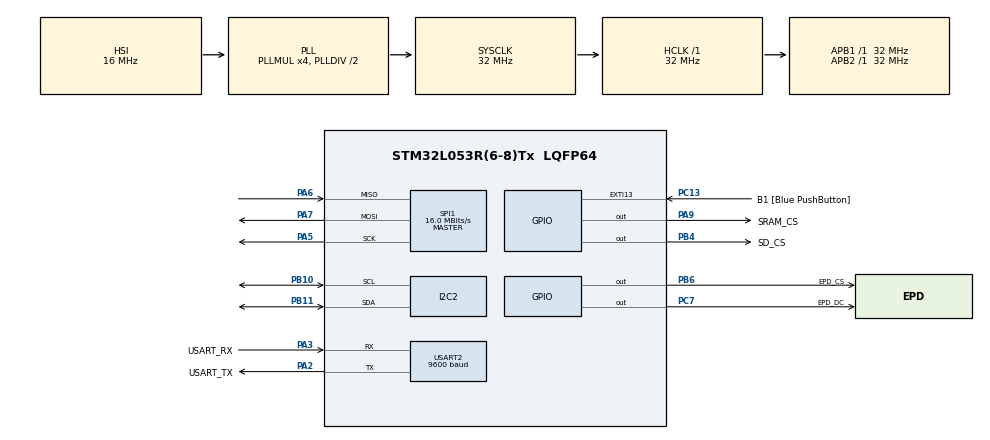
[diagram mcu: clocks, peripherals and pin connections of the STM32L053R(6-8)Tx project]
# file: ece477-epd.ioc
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Mcu.Family=STM32L0
PA6.Mode=Full_Duplex_Master
PH0-OSC_IN.Signal=RCC_OSC_IN
SPI1.VirtualType=VM_MASTER
PB10.Mode=I2C
PA14.GPIO_Label=TCK
I2C2.Timing=0x00707CBB
PB6.GPIO_Label=EPD_CS
PC13.GPIO_Label=B1 [Blue PushButton]
PB11.Signal=I2C2_SDA
RCC.SYSCLKSource=RCC_SYSCLKSOURCE_PLLCLK
ProjectManager.StackSize=0x400
SPI1.Direction=SPI_DIRECTION_2LINES
RCC.HCLKFreq_Value=32000000
RCC.APB2TimFreq_Value=32000000
PB6.Signal=GPIO_Output
PC7.Signal=GPIO_Output
SPI1.CalculateBaudRate=16.0 MBits/s
RCC.AHBFreq_Value=32000000
PH0-OSC_IN.Mode=HSE-External-Clock-Source
RCC.HSE_VALUE=8000000
USART2.VirtualMode-Asynchronous=VM_ASYNC
RCC.PLLMUL=RCC_PLLMUL_4
PC14-OSC32_IN.Mode=LSE-External-Oscillator
PA14.Mode=Serial_Wire
PC7.PinState=GPIO_PIN_SET
Mcu.Package=LQFP64
PA6.Signal=SPI1_MISO
PA2.GPIO_Label=USART_TX
RCC.APB1TimFreq_Value=32000000
PA6.GPIO_Speed=GPIO_SPEED_FREQ_MEDIUM
SPI1.BaudRatePrescaler=SPI_BAUDRATEPRESCALER_2
PB4.PinState=GPIO_PIN_SET
RCC.HSI48_VALUE=48000000
PB4.Signal=GPIO_Output
PA3.Signal=USART2_RX
PA5.Mode=Full_Duplex_Master
RCC.MSI_VALUE=2097000
PC15-OSC32_OUT.Mode=LSE-External-Oscillator
PA7.Mode=Full_Duplex_Master
PC13.Signal=GPXTI13
PA9.GPIO_Label=SRAM_CS
PC14-OSC32_IN.Signal=RCC_OSC32_IN
USART2.BaudRate=9600
PA13.Signal=SYS_SWDIO
PA3.Mode=Asynchronous
RCC.HSI16_VALUE=16000000
PB11.Mode=I2C
ProjectManager.TargetToolchain=STM32CubeIDE
PA9.Signal=GPIO_Output
PA9.PinState=GPIO_PIN_SET
PC15-OSC32_OUT.Signal=RCC_OSC32_OUT
PB10.Signal=I2C2_SCL
PA5.Signal=SPI1_SCK
board=NUCLEO-L053R8
RCC.VCOOutputFreq_Value=64000000
PA7.GPIO_Speed=GPIO_SPEED_FREQ_MEDIUM
RCC.APB2Freq_Value=32000000
PB4.GPIO_Label=SD_CS
SPI1.Mode=SPI_MODE_MASTER
PH1-OSC_OUT.Signal=RCC_OSC_OUT
PA13.Mode=Serial_Wire
Mcu.Name=STM32L053R(6-8)Tx
PA13.GPIO_Label=TMS
PA2.Signal=USART2_TX
PC7.GPIO_Label=EPD_DC
RCC.SYSCLKFreq_VALUE=32000000
PC13.GPIO_ModeDefaultEXTI=GPIO_MODE_IT_FALLING
PB6.PinState=GPIO_PIN_SET
PA14.Signal=SYS_SWCLK
ProjectManager.HeapSize=0x200
RCC.HSI_VALUE=16000000
PA5.GPIO_Speed=GPIO_SPEED_FREQ_MEDIUM
PA9.GPIO_Speed=GPIO_SPEED_FREQ_MEDIUM
PA2.Mode=Asynchronous
RCC.APB1Freq_Value=32000000
PA3.GPIO_Label=USART_RX
PA7.Signal=SPI1_MOSI

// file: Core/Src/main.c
/* USER CODE BEGIN Header */
/**
  ******************************************************************************
  * @file           : main.c
  * @brief          : Main program body
  ******************************************************************************
  * @attention
  *
  * <h2><center>&copy; Copyright (c) 2021 STMicroelectronics.
  * All rights reserved.</center></h2>
  *
  * This software component is licensed by ST under BSD 3-Clause license,
  * the "License"; You may not use this file except in compliance with the
  * License. You may obtain a copy of the License at:
  *                        opensource.org/licenses/BSD-3-Clause
  *
  ******************************************************************************
  */
/* USER CODE END Header */
#include "main.h"
#include "i2c.h"
#include "spi.h"
#include "usart.h"
#include "gpio.h"

/* USER CODE BEGIN Includes */
#include <stdint.h>
#include "serial_print.h"
#include "sram.h"
#include "epd.h"
#include "epd_gfx.h"
#include "apple.c"
#include "vcnl4010.h"
/* USER CODE END Includes */

/* USER CODE BEGIN PV */
extern uint8_t *buffer1;
extern uint32_t buffer1_size;
/* USER CODE END PV */

void SystemClock_Config(void);

int main(void)
{

  /* MCU Configuration--------------------------------------------------------*/

  /* Reset of all peripherals, Initializes the Flash interface and the Systick. */
  HAL_Init();

  /* Configure the system clock */
  SystemClock_Config();

  /* Initialize all configured peripherals */
  MX_GPIO_Init();
  MX_USART2_UART_Init();
  MX_SPI1_Init();
  MX_I2C2_Init();
  /* USER CODE BEGIN 2 */

    serial_clear();
    serial_println("NOTE: Not all GFX and SRAM functions are tested here\n");

    /***** SRAM TESTING CODE *****/

    serial_printf("Initializing display SRAM... ");
    sram_init();
    serial_println("Done!");

    uint8_t write_value = 0x42;
    serial_printf("Testing SRAM write... ");
    sram_erase(0x0008, 2, write_value);
    serial_println("Done!");
    serial_printf("[0x0008] <== 0x%x\n", write_value);

    serial_printf("Testing SRAM read... ");
    uint16_t read_val = sram_read8(0x0008, MCPSRAM_READ);
    serial_println("Done!");
    serial_printf("[0x0008] ==> 0x%x\n\n", read_val);

    /***** DISPLAY TESTING CODE *****/
    /*** INITIALIZATION ***/
    serial_printf("Initializing display... ");
    epd_init(false);
    serial_println("Done!");

    serial_printf("Setting display rotation... ");
    set_rotation(2);
    serial_println("Done!");

    serial_printf("Clearing display buffers... ");
    clear_buffer();
    epd_powerUp();
    write_RAM_to_epd(buffer1, buffer1_size, 1, false);
    serial_println("Done!\n");

    /*** BITMAP ***/
    serial_printf("Drawing bitmap to buffer... ");
    draw_bitmap(0, 0, apple, EPD_WIDTH, EPD_HEIGHT, EPD_BLACK);
    serial_println("Done!");

    serial_printf("Manually writing buffer to the display (for color)... ");
    epd_powerUp();
    write_RAM_to_epd(buffer1, buffer1_size, 1, false);
    display(false);
    serial_println("Done!");

    serial_printf("Clearing display buffers... ");
    clear_buffer();
    serial_println("Done!\n");

    /*** TEXT ***/
    serial_printf("Setting text scaling... ");
    set_text_scale(2);
    serial_println("Done!");

    serial_printf("Setting x-margin... ");
    set_x_margin(2);
    serial_println("Done!");

    serial_printf("Setting cursor... ");
    set_cursor(2,2);
    serial_println("Done!");

//	serial_printf("Printing to buffer... ");
//	char hello[] = "Hello world,\n\n      I'm FreshByte!";
//	printString(hello);
//    serial_println("Done!");
//
//	serial_printf("Writing buffer to the display... ");
//	display(false);
//    serial_println("Done!\n");

    serial_printf("Initial testing sequence done!\n\n");

    serial_printf("Clearing display buffers... ");
    clear_buffer();
    epd_powerUp();
    write_RAM_to_epd(buffer1, buffer1_size, 0, false);
    write_RAM_to_epd(buffer1, buffer1_size, 1, false);
    serial_println("Done!\n");

    serial_println("Printing random information to display\n");
    set_text_scale(2);
    set_x_margin(2);
	set_y_margin(2);
	set_cursor(2,2);

	printString("4/10/2021, 12:00 PM\n");
	printString("Battery: 90%\n");
	printString("Temperature: 72 F\n");
	printString("Rel. Humidity: 35%\n");
	printString("Methane: 115 ppm\n\n");
	printString("Food: Banana\n");
	printString("Time Elapsed: 2 days\n");
	printString("Est. Days Left: 7 days\n");

	display(false);

    /*** MINI INTEGRATION ***/
//    serial_println("Starting Proximity Demo...\n");
//    set_text_scale(0);
//    set_x_margin(2);
//    set_y_margin(2);
//    set_cursor(2,2);
//
//    serial_printf("cursor: (%d, %d)\nmargin: %d\n\n", get_x_cursor(), get_y_cursor(), get_x_margin());
//
//    printString("Initializing proximity sensor...\n");
//    VCNL4010_setLEDcurrent(2);
//    display(false);

//    serial_printf("cursor: (%d, %d)\nmargin: %d\n\n", get_x_cursor(), get_y_cursor(), get_x_margin());

//    printString("-- IR LED Current: 20 mA\n");
//    display(false);

//    serial_printf("cursor: (%d, %d)\nmargin: %d\n\n", get_x_cursor(), get_y_cursor(), get_x_margin());
//
//    VCNL4010_setFrequency(VCNL4010_3_90625);
//    printString("-- PROX Frequency: ~4 meas/sec\n\n");
//    display(false);

//    serial_printf("cursor: (%d, %d)\nmargin: %d\n\n", get_x_cursor(), get_y_cursor(), get_x_margin());

//    uint16_t temp;
  /* USER CODE END 2 */

  /* Infinite loop */
    while (1) {
    /* USER CODE BEGIN 3 */
//    temp = VCNL4010_readAmbient();
//    serial_printf("AMBIENT (RAW): %d\n", temp);
//    printString("AMBIENT (RAW): ");
//    printUnsigned(temp, 10);

//    serial_printf("Cursor: (%d, %d), Margin: %d\n\n", get_x_cursor(), get_y_cursor(), get_x_margin());

//    temp = VCNL4010_readProximity();
//    serial_printf("PROX (RAW): %d\n", temp);
//    printString("\nPROX (RAW): ");
//    printUnsigned(temp, 10);
//    printChar('\n');
//    display(false);
//    serial_printf("Cursor: (%d, %d), Margin: %d\n\n", get_x_cursor(), get_y_cursor(), get_x_margin());
    }
  /* USER CODE END 3 */
}

void SystemClock_Config(void)
{
  RCC_OscInitTypeDef RCC_OscInitStruct = {0};
  RCC_ClkInitTypeDef RCC_ClkInitStruct = {0};
  RCC_PeriphCLKInitTypeDef PeriphClkInit = {0};

  /** Configure the main internal regulator output voltage
  */
  __HAL_PWR_VOLTAGESCALING_CONFIG(PWR_REGULATOR_VOLTAGE_SCALE1);
  /** Initializes the RCC Oscillators according to the specified parameters
  * in the RCC_OscInitTypeDef structure.
  */
  RCC_OscInitStruct.OscillatorType = RCC_OSCILLATORTYPE_HSI;
  RCC_OscInitStruct.HSIState = RCC_HSI_ON;
  RCC_OscInitStruct.HSICalibrationValue = RCC_HSICALIBRATION_DEFAULT;
  RCC_OscInitStruct.PLL.PLLState = RCC_PLL_ON;
  RCC_OscInitStruct.PLL.PLLSource = RCC_PLLSOURCE_HSI;
  RCC_OscInitStruct.PLL.PLLMUL = RCC_PLLMUL_4;
  RCC_OscInitStruct.PLL.PLLDIV = RCC_PLLDIV_2;
  if (HAL_RCC_OscConfig(&RCC_OscInitStruct) != HAL_OK)
  {
    Error_Handler();
  }
  /** Initializes the CPU, AHB and APB buses clocks
  */
  RCC_ClkInitStruct.ClockType = RCC_CLOCKTYPE_HCLK|RCC_CLOCKTYPE_SYSCLK
                              |RCC_CLOCKTYPE_PCLK1|RCC_CLOCKTYPE_PCLK2;
  RCC_ClkInitStruct.SYSCLKSource = RCC_SYSCLKSOURCE_PLLCLK;
  RCC_ClkInitStruct.AHBCLKDivider = RCC_SYSCLK_DIV1;
  RCC_ClkInitStruct.APB1CLKDivider = RCC_HCLK_DIV1;
  RCC_ClkInitStruct.APB2CLKDivider = RCC_HCLK_DIV1;

  if (HAL_RCC_ClockConfig(&RCC_ClkInitStruct, FLASH_LATENCY_1) != HAL_OK)
  {
    Error_Handler();
  }
  PeriphClkInit.PeriphClockSelection = RCC_PERIPHCLK_USART2;
  PeriphClkInit.Usart2ClockSelection = RCC_USART2CLKSOURCE_PCLK1;
  if (HAL_RCCEx_PeriphCLKConfig(&PeriphClkInit) != HAL_OK)
  {
    Error_Handler();
  }
}

void Error_Handler(void)
{
    __disable_irq();
    while (1) {
    }
}

/************************ (C) COPYRIGHT STMicroelectronics *****END OF FILE****/
